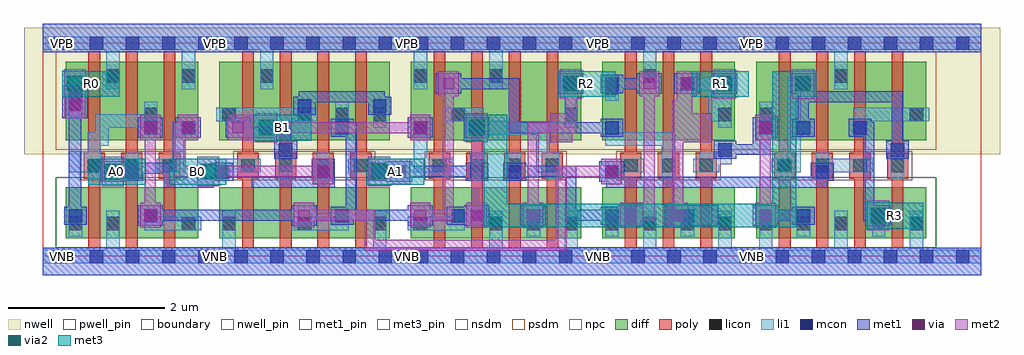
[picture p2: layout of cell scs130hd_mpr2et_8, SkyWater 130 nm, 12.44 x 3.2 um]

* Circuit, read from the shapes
.subckt scs130hd_mpr2et_8 A0 A1 B0 B1 R0 R1 R2 R3 VNB VPB vgnd vpwr
XM1 vgnd n1 R0 VNB sky130_fd_pr__nfet_01v8 w=0.65 l=0.15
XM2 n2 A0 vgnd VNB sky130_fd_pr__nfet_01v8 w=0.65 l=0.15
XM3 n1 B0 n2 VNB sky130_fd_pr__nfet_01v8 w=0.65 l=0.15
XM4 n3 A0 vgnd VNB sky130_fd_pr__nfet_01v8 w=0.65 l=0.15
XM5 n4 B1 n3 VNB sky130_fd_pr__nfet_01v8 w=0.65 l=0.15
XM6 n5 B0 n4 VNB sky130_fd_pr__nfet_01v8 w=0.65 l=0.15
XM7 vgnd A1 n5 VNB sky130_fd_pr__nfet_01v8 w=0.65 l=0.15
XM8 n6 B1 n7 VNB sky130_fd_pr__nfet_01v8 w=0.65 l=0.15
XM9 vgnd A1 n6 VNB sky130_fd_pr__nfet_01v8 w=0.65 l=0.15
XM10 R2 n8 vgnd VNB sky130_fd_pr__nfet_01v8 w=0.65 l=0.15
XM11 vgnd n7 R2 VNB sky130_fd_pr__nfet_01v8 w=0.65 l=0.15
XM12 vgnd n1 n8 VNB sky130_fd_pr__nfet_01v8 w=0.65 l=0.15
XM13 R1 n4 vgnd VNB sky130_fd_pr__nfet_01v8 w=0.65 l=0.15
XM14 vgnd n9 R1 VNB sky130_fd_pr__nfet_01v8 w=0.65 l=0.15
XM15 n9 n7 vgnd VNB sky130_fd_pr__nfet_01v8 w=0.65 l=0.15
XM16 vgnd n1 n9 VNB sky130_fd_pr__nfet_01v8 w=0.65 l=0.15
XM17 R3 n1 vgnd VNB sky130_fd_pr__nfet_01v8 w=0.65 l=0.15
XM18 vgnd n7 R3 VNB sky130_fd_pr__nfet_01v8 w=0.65 l=0.15
XM19 vpwr n1 R0 VPB sky130_fd_pr__pfet_01v8 w=1 l=0.15
XM20 n1 A0 vpwr VPB sky130_fd_pr__pfet_01v8 w=1 l=0.15
XM21 vpwr B0 n1 VPB sky130_fd_pr__pfet_01v8 w=1 l=0.15
XM22 vpwr A0 n10 VPB sky130_fd_pr__pfet_01v8 w=1 l=0.15
XM23 n10 B1 vpwr VPB sky130_fd_pr__pfet_01v8 w=1 l=0.15
XM24 n4 B0 n10 VPB sky130_fd_pr__pfet_01v8 w=1 l=0.15
XM25 n10 A1 n4 VPB sky130_fd_pr__pfet_01v8 w=1 l=0.15
XM26 n7 B1 vpwr VPB sky130_fd_pr__pfet_01v8 w=1 l=0.15
XM27 vpwr A1 n7 VPB sky130_fd_pr__pfet_01v8 w=1 l=0.15
XM28 n11 n8 vpwr VPB sky130_fd_pr__pfet_01v8 w=1 l=0.15
XM29 R2 n7 n11 VPB sky130_fd_pr__pfet_01v8 w=1 l=0.15
XM30 vpwr n1 n8 VPB sky130_fd_pr__pfet_01v8 w=1 l=0.15
XM31 n12 n4 vpwr VPB sky130_fd_pr__pfet_01v8 w=1 l=0.15
XM32 R1 n9 n12 VPB sky130_fd_pr__pfet_01v8 w=1 l=0.15
XM33 n13 n7 n9 VPB sky130_fd_pr__pfet_01v8 w=1 l=0.15
XM34 vpwr n1 n13 VPB sky130_fd_pr__pfet_01v8 w=1 l=0.15
XM35 n14 n1 vpwr VPB sky130_fd_pr__pfet_01v8 w=1 l=0.15
XM36 R3 n7 n14 VPB sky130_fd_pr__pfet_01v8 w=1 l=0.15
.ends

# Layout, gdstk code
import gdstk
lib = gdstk.Library(unit=1e-6, precision=1e-09)
def R(c, l, rs):  # rectangles x0, y0, x1, y1
    for r in rs: c.add(gdstk.rectangle(r[:2], r[2:], *l))
nwell_pin = (64, 16)
nwell = (64, 20)
diff = (65, 20)
poly = (66, 20)
licon = (66, 44)
li1 = (67, 20)
mcon = (67, 44)
met1_pin = (68, 16)
met1 = (68, 20)
via = (68, 44)
met2 = (69, 20)
via2 = (69, 44)
met3_pin = (70, 16)
met3 = (70, 20)
nsdm = (93, 44)
psdm = (94, 20)
npc = (95, 20)
pwell_pin = (122, 16)
boundary = (235, 4)

scs130hd_mpr2et_8 = lib.new_cell('scs130hd_mpr2et_8')
R(scs130hd_mpr2et_8, nwell_pin, [(0.16,2.63,0.33,2.8), (0.16,2.63,0.33,2.8), (2.12,2.63,2.29,2.8), (2.12,2.63,2.29,2.8), (4.56,2.63,4.73,2.8), (4.56,2.63,4.73,2.8), (7,2.63,7.17,2.8), (7,2.63,7.17,2.8), (8.96,2.63,9.13,2.8), (8.96,2.63,9.13,2.8)])
R(scs130hd_mpr2et_8, nwell, [(-0.24,1.3,12.2,2.91), (-0.24,1.3,12.2,2.91)])
R(scs130hd_mpr2et_8, diff, [(0.29,0.23,1.98,0.88), (0.29,0.23,1.98,0.88), (2.25,0.23,4.42,0.88), (2.25,0.23,4.42,0.88), (4.69,0.23,6.86,0.88), (4.69,0.23,6.86,0.88), (7.13,0.23,8.82,0.88), (7.13,0.23,8.82,0.88), (9.09,0.23,11.26,0.88), (9.09,0.23,11.26,0.88), (0.29,1.48,1.98,2.48), (0.29,1.48,1.98,2.48), (2.25,1.48,4.42,2.48), (2.25,1.48,4.42,2.48), (4.69,1.48,6.86,2.48), (4.69,1.48,6.86,2.48), (7.13,1.48,8.82,2.48), (7.13,1.48,8.82,2.48), (9.09,1.48,11.26,2.48), (9.09,1.48,11.26,2.48)])
R(scs130hd_mpr2et_8, poly, [(0.58,0.1,0.73,0.99), (0.58,0.1,0.73,0.99), (1.06,0.1,1.21,0.99), (1.06,0.1,1.21,0.99), (1.54,0.1,1.69,0.99), (1.54,0.1,1.69,0.99), (2.54,0.1,2.69,0.99), (2.54,0.1,2.69,0.99), (3.02,0.1,3.17,0.99), (3.02,0.1,3.17,0.99), (3.5,0.1,3.65,0.99), (3.5,0.1,3.65,0.99), (3.98,0.1,4.13,0.99), (3.98,0.1,4.13,0.99), (4.98,0.1,5.13,0.99), (4.98,0.1,5.13,0.99), (5.46,0.1,5.61,0.99), (5.46,0.1,5.61,0.99), (5.94,0.1,6.09,0.99), (5.94,0.1,6.09,0.99), (6.42,0.1,6.57,0.99), (6.42,0.1,6.57,0.99), (7.42,0.1,7.57,0.99), (7.42,0.1,7.57,0.99), (7.9,0.1,8.05,0.99), (7.9,0.1,8.05,0.99), (8.38,0.1,8.53,0.99), (8.38,0.1,8.53,0.99), (9.38,0.1,9.53,0.99), (9.38,0.1,9.53,0.99), (9.86,0.1,10.01,0.99), (9.86,0.1,10.01,0.99), (10.34,0.1,10.49,0.99), (10.34,0.1,10.49,0.99), (10.82,0.1,10.97,0.99), (10.82,0.1,10.97,0.99), (0.52,0.99,0.79,1.32), (0.52,0.99,0.79,1.32), (1,0.99,1.27,1.32), (1,0.99,1.27,1.32), (1.48,0.99,1.75,1.32), (1.48,0.99,1.75,1.32), (2.48,0.99,2.75,1.32), (2.48,0.99,2.75,1.32), (2.96,0.99,3.23,1.32), (2.96,0.99,3.23,1.32), (3.44,0.99,3.71,1.32), (3.44,0.99,3.71,1.32), (3.92,0.99,4.19,1.32), (3.92,0.99,4.19,1.32), (4.92,0.99,5.19,1.32), (4.92,0.99,5.19,1.32), (5.4,0.99,5.67,1.32), (5.4,0.99,5.67,1.32), (5.88,0.99,6.15,1.32), (5.88,0.99,6.15,1.32), (6.36,0.99,6.63,1.32), (6.36,0.99,6.63,1.32), (7.36,0.99,7.63,1.32), (7.36,0.99,7.63,1.32), (7.84,0.99,8.11,1.32), (7.84,0.99,8.11,1.32), (8.32,0.99,8.59,1.32), (8.32,0.99,8.59,1.32), (9.32,0.99,9.59,1.32), (9.32,0.99,9.59,1.32), (9.8,0.99,10.07,1.32), (9.8,0.99,10.07,1.32), (10.28,0.99,10.55,1.32), (10.28,0.99,10.55,1.32), (10.76,0.99,11.03,1.32), (10.76,0.99,11.03,1.32), (0.58,1.32,0.73,2.61), (0.58,1.32,0.73,2.61), (1.06,1.32,1.21,2.61), (1.06,1.32,1.21,2.61), (1.54,1.32,1.69,2.61), (1.54,1.32,1.69,2.61), (2.54,1.32,2.69,2.61), (2.54,1.32,2.69,2.61), (3.02,1.32,3.17,2.61), (3.02,1.32,3.17,2.61), (3.5,1.32,3.65,2.61), (3.5,1.32,3.65,2.61), (3.98,1.32,4.13,2.61), (3.98,1.32,4.13,2.61), (4.98,1.32,5.13,2.61), (4.98,1.32,5.13,2.61), (5.46,1.32,5.61,2.61), (5.46,1.32,5.61,2.61), (5.94,1.32,6.09,2.61), (5.94,1.32,6.09,2.61), (6.42,1.32,6.57,2.61), (6.42,1.32,6.57,2.61), (7.42,1.32,7.57,2.61), (7.42,1.32,7.57,2.61), (7.9,1.32,8.05,2.61), (7.9,1.32,8.05,2.61), (8.38,1.32,8.53,2.61), (8.38,1.32,8.53,2.61), (9.38,1.32,9.53,2.61), (9.38,1.32,9.53,2.61), (9.86,1.32,10.01,2.61), (9.86,1.32,10.01,2.61), (10.34,1.32,10.49,2.61), (10.34,1.32,10.49,2.61), (10.82,1.32,10.97,2.61), (10.82,1.32,10.97,2.61)])
R(scs130hd_mpr2et_8, licon, [(0.33,0.33,0.5,0.5), (0.33,0.33,0.5,0.5), (0.81,0.33,0.98,0.5), (0.81,0.33,0.98,0.5), (1.77,0.33,1.94,0.5), (1.77,0.33,1.94,0.5), (2.29,0.33,2.46,0.5), (2.29,0.33,2.46,0.5), (3.25,0.33,3.42,0.5), (3.25,0.33,3.42,0.5), (4.21,0.33,4.38,0.5), (4.21,0.33,4.38,0.5), (4.73,0.33,4.9,0.5), (4.73,0.33,4.9,0.5), (5.69,0.33,5.86,0.5), (5.69,0.33,5.86,0.5), (6.17,0.33,6.34,0.5), (6.17,0.33,6.34,0.5), (6.65,0.33,6.82,0.5), (6.65,0.33,6.82,0.5), (7.17,0.33,7.34,0.5), (7.17,0.33,7.34,0.5), (7.65,0.33,7.82,0.5), (7.65,0.33,7.82,0.5), (8.13,0.33,8.3,0.5), (8.13,0.33,8.3,0.5), (8.61,0.33,8.78,0.5), (8.61,0.33,8.78,0.5), (9.13,0.33,9.3,0.5), (9.13,0.33,9.3,0.5), (9.61,0.33,9.78,0.5), (9.61,0.33,9.78,0.5), (10.09,0.33,10.26,0.5), (10.09,0.33,10.26,0.5), (10.57,0.33,10.74,0.5), (10.57,0.33,10.74,0.5), (11.05,0.33,11.22,0.5), (11.05,0.33,11.22,0.5), (0.57,1.07,0.74,1.24), (0.57,1.07,0.74,1.24), (1.05,1.07,1.22,1.24), (1.05,1.07,1.22,1.24), (1.53,1.07,1.7,1.24), (1.53,1.07,1.7,1.24), (2.53,1.07,2.7,1.24), (2.53,1.07,2.7,1.24), (3.01,1.07,3.18,1.24), (3.01,1.07,3.18,1.24), (3.49,1.07,3.66,1.24), (3.49,1.07,3.66,1.24), (3.97,1.07,4.14,1.24), (3.97,1.07,4.14,1.24), (4.97,1.07,5.14,1.24), (4.97,1.07,5.14,1.24), (5.45,1.07,5.62,1.24), (5.45,1.07,5.62,1.24), (5.93,1.07,6.1,1.24), (5.93,1.07,6.1,1.24), (6.41,1.07,6.58,1.24), (6.41,1.07,6.58,1.24), (7.41,1.07,7.58,1.24), (7.41,1.07,7.58,1.24), (7.89,1.07,8.06,1.24), (7.89,1.07,8.06,1.24), (8.37,1.07,8.54,1.24), (8.37,1.07,8.54,1.24), (9.37,1.07,9.54,1.24), (9.37,1.07,9.54,1.24), (9.85,1.07,10.02,1.24), (9.85,1.07,10.02,1.24), (10.33,1.07,10.5,1.24), (10.33,1.07,10.5,1.24), (10.81,1.07,10.98,1.24), (10.81,1.07,10.98,1.24), (1.29,1.72,1.46,1.89), (1.29,1.72,1.46,1.89), (2.29,1.72,2.46,1.89), (2.29,1.72,2.46,1.89), (3.25,1.72,3.42,1.89), (3.25,1.72,3.42,1.89), (3.73,1.72,3.9,1.89), (3.73,1.72,3.9,1.89), (4.21,1.72,4.38,1.89), (4.21,1.72,4.38,1.89), (5.21,1.72,5.38,1.89), (5.21,1.72,5.38,1.89), (6.65,1.72,6.82,1.89), (6.65,1.72,6.82,1.89), (8.61,1.72,8.78,1.89), (8.61,1.72,8.78,1.89), (9.13,1.72,9.3,1.89), (9.13,1.72,9.3,1.89), (11.05,1.72,11.22,1.89), (11.05,1.72,11.22,1.89), (0.33,1.86,0.5,2.03), (0.33,1.86,0.5,2.03), (7.17,2.06,7.34,2.23), (7.17,2.06,7.34,2.23), (0.81,2.21,0.98,2.38), (0.81,2.21,0.98,2.38), (1.77,2.21,1.94,2.38), (1.77,2.21,1.94,2.38), (2.77,2.21,2.94,2.38), (2.77,2.21,2.94,2.38), (4.73,2.21,4.9,2.38), (4.73,2.21,4.9,2.38), (5.69,2.21,5.86,2.38), (5.69,2.21,5.86,2.38), (7.65,2.21,7.82,2.38), (7.65,2.21,7.82,2.38), (10.09,2.21,10.26,2.38), (10.09,2.21,10.26,2.38)])
R(scs130hd_mpr2et_8, li1, [(0,-0.09,11.96,0.08), (0,-0.09,11.96,0.08), (0.81,0.08,0.98,0.58), (0.81,0.08,0.98,0.58), (2.29,0.08,2.46,0.58), (2.29,0.08,2.46,0.58), (4.21,0.08,4.38,0.58), (4.21,0.08,4.38,0.58), (5.69,0.08,5.86,0.58), (5.69,0.08,5.86,0.58), (6.65,0.08,6.82,0.58), (6.65,0.08,6.82,0.58), (7.65,0.08,7.82,0.58), (7.65,0.08,7.82,0.58), (8.61,0.08,8.78,0.58), (8.61,0.08,8.78,0.58), (9.13,0.08,9.3,0.58), (9.13,0.08,9.3,0.58), (10.09,0.08,10.26,0.58), (10.09,0.08,10.26,0.58), (11.05,0.08,11.22,0.58), (11.05,0.08,11.22,0.58), (0.33,0.25,0.5,0.6), (0.33,0.25,0.5,0.6), (6.17,0.25,6.34,0.6), (6.17,0.25,6.34,0.6), (7.17,0.25,7.34,0.6), (7.17,0.25,7.34,0.6), (8.13,0.25,8.3,0.6), (8.13,0.25,8.3,0.6), (9.61,0.25,9.78,0.6), (9.61,0.25,9.78,0.6), (10.57,0.25,10.74,0.6), (10.57,0.25,10.74,0.6), (1.29,0.33,2.02,0.5), (1.29,0.33,2.02,0.5), (3.17,0.33,3.9,0.5), (3.17,0.33,3.9,0.5), (4.65,0.33,5.38,0.5), (4.65,0.33,5.38,0.5), (1.29,0.5,1.46,0.6), (1.29,0.5,1.46,0.6), (3.73,0.5,3.9,0.6), (3.73,0.5,3.9,0.6), (5.21,0.5,5.38,0.6), (5.21,0.5,5.38,0.6), (0.57,0.99,0.74,1.07), (0.57,0.99,0.74,1.07), (1.05,0.99,1.22,1.32), (1.05,0.99,1.22,1.32), (2.2,0.99,2.37,1.07), (2.2,0.99,2.37,1.07), (3.01,0.99,3.18,1.44), (3.01,0.99,3.18,1.44), (3.49,0.99,3.66,1.32), (3.49,0.99,3.66,1.32), (4.21,0.99,4.38,1.07), (4.21,0.99,4.38,1.07), (5.45,0.99,5.62,1.32), (5.45,0.99,5.62,1.32), (5.93,0.99,6.1,1.32), (5.93,0.99,6.1,1.32), (6.41,0.99,6.58,1.07), (6.41,0.99,6.58,1.07), (7.17,0.99,7.34,1.07), (7.17,0.99,7.34,1.07), (7.89,0.99,8.06,1.41), (7.89,0.99,8.06,1.41), (9.85,0.99,10.02,1.07), (9.85,0.99,10.02,1.07), (10.81,0.99,10.98,1.44), (10.81,0.99,10.98,1.44), (0.33,1.07,0.74,1.34), (0.33,1.07,0.74,1.34), (1.45,1.07,1.82,1.24), (1.45,1.07,1.82,1.24), (2.2,1.07,2.78,1.24), (2.2,1.07,2.78,1.24), (3.89,1.07,4.38,1.24), (3.89,1.07,4.38,1.24), (4.73,1.07,5.22,1.24), (4.73,1.07,5.22,1.24), (6.29,1.07,6.58,1.32), (6.29,1.07,6.58,1.32), (7.17,1.07,7.66,1.24), (7.17,1.07,7.66,1.24), (8.29,1.07,8.62,1.17), (8.29,1.07,8.62,1.17), (9.29,1.07,9.66,1.24), (9.29,1.07,9.66,1.24), (9.85,1.07,10.58,1.24), (9.85,1.07,10.58,1.24), (8.29,1.17,8.78,1.24), (8.29,1.17,8.78,1.24), (1.65,1.24,1.82,1.55), (1.65,1.24,1.82,1.55), (4.73,1.24,4.9,1.72), (4.73,1.24,4.9,1.72), (8.37,1.24,8.78,1.34), (8.37,1.24,8.78,1.34), (9.49,1.24,9.66,1.55), (9.49,1.24,9.66,1.55), (9.85,1.24,10.02,1.32), (9.85,1.24,10.02,1.32), (6.29,1.32,6.46,1.55), (6.29,1.32,6.46,1.55), (0.57,1.34,0.74,1.41), (0.57,1.34,0.74,1.41), (8.61,1.34,8.78,1.44), (8.61,1.34,8.78,1.44), (0.57,1.41,0.84,1.58), (0.57,1.41,0.84,1.58), (7.17,1.41,8.06,1.58), (7.17,1.41,8.06,1.58), (1.29,1.55,1.46,1.64), (1.29,1.55,1.46,1.64), (1.65,1.55,1.94,1.72), (1.65,1.55,1.94,1.72), (3.73,1.55,3.9,1.97), (3.73,1.55,3.9,1.97), (5.45,1.55,6.46,1.72), (5.45,1.55,6.46,1.72), (9.13,1.55,9.3,1.97), (9.13,1.55,9.3,1.97), (9.49,1.55,9.78,1.72), (9.49,1.55,9.78,1.72), (10.33,1.55,10.5,1.72), (10.33,1.55,10.5,1.72), (0.67,1.58,0.84,1.64), (0.67,1.58,0.84,1.64), (7.17,1.58,7.34,1.72), (7.17,1.58,7.34,1.72), (0.67,1.64,1.46,1.81), (0.67,1.64,1.46,1.81), (4.21,1.64,4.38,2), (4.21,1.64,4.38,2), (6.65,1.64,6.82,2.28), (6.65,1.64,6.82,2.28), (8.61,1.64,8.78,1.72), (8.61,1.64,8.78,1.72), (2.21,1.72,3.5,1.89), (2.21,1.72,3.5,1.89), (5.13,1.72,5.62,1.89), (5.13,1.72,5.62,1.89), (8.49,1.72,8.78,2.11), (8.49,1.72,8.78,2.11), (9.49,1.72,9.66,2.11), (9.49,1.72,9.66,2.11), (10.33,1.72,11.3,1.89), (10.33,1.72,11.3,1.89), (0.33,1.78,0.5,2.14), (0.33,1.78,0.5,2.14), (1.29,1.81,1.46,1.97), (1.29,1.81,1.46,1.97), (3.25,1.89,3.42,2), (3.25,1.89,3.42,2), (7.17,1.98,7.34,2.31), (7.17,1.98,7.34,2.31), (8.13,2.11,8.78,2.28), (8.13,2.11,8.78,2.28), (9.49,2.11,9.78,2.28), (9.49,2.11,9.78,2.28), (0.81,2.13,0.98,2.63), (0.81,2.13,0.98,2.63), (1.77,2.13,1.94,2.63), (1.77,2.13,1.94,2.63), (2.77,2.13,2.94,2.63), (2.77,2.13,2.94,2.63), (4.73,2.13,4.9,2.63), (4.73,2.13,4.9,2.63), (5.69,2.13,5.86,2.63), (5.69,2.13,5.86,2.63), (7.65,2.13,7.82,2.63), (7.65,2.13,7.82,2.63), (10.09,2.13,10.26,2.63), (10.09,2.13,10.26,2.63), (0,2.63,11.96,2.8), (0,2.63,11.96,2.8)])
R(scs130hd_mpr2et_8, mcon, [(0.14,-0.09,0.31,0.08), (0.14,-0.09,0.31,0.08), (0.6,-0.09,0.77,0.08), (0.6,-0.09,0.77,0.08), (1.06,-0.09,1.23,0.08), (1.06,-0.09,1.23,0.08), (1.52,-0.09,1.69,0.08), (1.52,-0.09,1.69,0.08), (1.98,-0.09,2.15,0.08), (1.98,-0.09,2.15,0.08), (2.44,-0.09,2.61,0.08), (2.44,-0.09,2.61,0.08), (2.9,-0.09,3.07,0.08), (2.9,-0.09,3.07,0.08), (3.36,-0.09,3.53,0.08), (3.36,-0.09,3.53,0.08), (3.82,-0.09,3.99,0.08), (3.82,-0.09,3.99,0.08), (4.28,-0.09,4.45,0.08), (4.28,-0.09,4.45,0.08), (4.74,-0.09,4.91,0.08), (4.74,-0.09,4.91,0.08), (5.2,-0.09,5.37,0.08), (5.2,-0.09,5.37,0.08), (5.66,-0.09,5.83,0.08), (5.66,-0.09,5.83,0.08), (6.12,-0.09,6.29,0.08), (6.12,-0.09,6.29,0.08), (6.58,-0.09,6.75,0.08), (6.58,-0.09,6.75,0.08), (7.04,-0.09,7.21,0.08), (7.04,-0.09,7.21,0.08), (7.5,-0.09,7.67,0.08), (7.5,-0.09,7.67,0.08), (7.96,-0.09,8.13,0.08), (7.96,-0.09,8.13,0.08), (8.42,-0.09,8.59,0.08), (8.42,-0.09,8.59,0.08), (8.88,-0.09,9.05,0.08), (8.88,-0.09,9.05,0.08), (9.34,-0.09,9.51,0.08), (9.34,-0.09,9.51,0.08), (9.8,-0.09,9.97,0.08), (9.8,-0.09,9.97,0.08), (10.26,-0.09,10.43,0.08), (10.26,-0.09,10.43,0.08), (10.72,-0.09,10.89,0.08), (10.72,-0.09,10.89,0.08), (11.18,-0.09,11.35,0.08), (11.18,-0.09,11.35,0.08), (11.64,-0.09,11.81,0.08), (11.64,-0.09,11.81,0.08), (0.33,0.43,0.5,0.6), (0.33,0.43,0.5,0.6), (1.29,0.43,1.46,0.6), (1.29,0.43,1.46,0.6), (3.73,0.43,3.9,0.6), (3.73,0.43,3.9,0.6), (5.21,0.43,5.38,0.6), (5.21,0.43,5.38,0.6), (6.17,0.43,6.34,0.6), (6.17,0.43,6.34,0.6), (7.17,0.43,7.34,0.6), (7.17,0.43,7.34,0.6), (8.13,0.43,8.3,0.6), (8.13,0.43,8.3,0.6), (9.61,0.43,9.78,0.6), (9.61,0.43,9.78,0.6), (10.57,0.43,10.74,0.6), (10.57,0.43,10.74,0.6), (1.05,0.99,1.22,1.16), (1.05,0.99,1.22,1.16), (2.2,0.99,2.37,1.16), (2.2,0.99,2.37,1.16), (3.49,0.99,3.66,1.16), (3.49,0.99,3.66,1.16), (4.21,0.99,4.38,1.16), (4.21,0.99,4.38,1.16), (5.45,0.99,5.62,1.16), (5.45,0.99,5.62,1.16), (5.93,0.99,6.1,1.16), (5.93,0.99,6.1,1.16), (7.17,0.99,7.34,1.16), (7.17,0.99,7.34,1.16), (9.85,0.99,10.02,1.16), (9.85,0.99,10.02,1.16), (3.01,1.27,3.18,1.44), (3.01,1.27,3.18,1.44), (8.61,1.27,8.78,1.44), (8.61,1.27,8.78,1.44), (10.81,1.27,10.98,1.44), (10.81,1.27,10.98,1.44), (1.29,1.55,1.46,1.72), (1.29,1.55,1.46,1.72), (1.77,1.55,1.94,1.72), (1.77,1.55,1.94,1.72), (3.73,1.55,3.9,1.72), (3.73,1.55,3.9,1.72), (4.73,1.55,4.9,1.72), (4.73,1.55,4.9,1.72), (5.45,1.55,5.62,1.72), (5.45,1.55,5.62,1.72), (7.17,1.55,7.34,1.72), (7.17,1.55,7.34,1.72), (9.13,1.55,9.3,1.72), (9.13,1.55,9.3,1.72), (9.61,1.55,9.78,1.72), (9.61,1.55,9.78,1.72), (10.33,1.55,10.5,1.72), (10.33,1.55,10.5,1.72), (3.25,1.83,3.42,2), (3.25,1.83,3.42,2), (4.21,1.83,4.38,2), (4.21,1.83,4.38,2), (0.33,1.97,0.5,2.14), (0.33,1.97,0.5,2.14), (6.65,2.11,6.82,2.28), (6.65,2.11,6.82,2.28), (7.17,2.11,7.34,2.28), (7.17,2.11,7.34,2.28), (8.13,2.11,8.3,2.28), (8.13,2.11,8.3,2.28), (8.61,2.11,8.78,2.28), (8.61,2.11,8.78,2.28), (9.61,2.11,9.78,2.28), (9.61,2.11,9.78,2.28), (0.14,2.63,0.31,2.8), (0.14,2.63,0.31,2.8), (0.6,2.63,0.77,2.8), (0.6,2.63,0.77,2.8), (1.06,2.63,1.23,2.8), (1.06,2.63,1.23,2.8), (1.52,2.63,1.69,2.8), (1.52,2.63,1.69,2.8), (1.98,2.63,2.15,2.8), (1.98,2.63,2.15,2.8), (2.44,2.63,2.61,2.8), (2.44,2.63,2.61,2.8), (2.9,2.63,3.07,2.8), (2.9,2.63,3.07,2.8), (3.36,2.63,3.53,2.8), (3.36,2.63,3.53,2.8), (3.82,2.63,3.99,2.8), (3.82,2.63,3.99,2.8), (4.28,2.63,4.45,2.8), (4.28,2.63,4.45,2.8), (4.74,2.63,4.91,2.8), (4.74,2.63,4.91,2.8), (5.2,2.63,5.37,2.8), (5.2,2.63,5.37,2.8), (5.66,2.63,5.83,2.8), (5.66,2.63,5.83,2.8), (6.12,2.63,6.29,2.8), (6.12,2.63,6.29,2.8), (6.58,2.63,6.75,2.8), (6.58,2.63,6.75,2.8), (7.04,2.63,7.21,2.8), (7.04,2.63,7.21,2.8), (7.5,2.63,7.67,2.8), (7.5,2.63,7.67,2.8), (7.96,2.63,8.13,2.8), (7.96,2.63,8.13,2.8), (8.42,2.63,8.59,2.8), (8.42,2.63,8.59,2.8), (8.88,2.63,9.05,2.8), (8.88,2.63,9.05,2.8), (9.34,2.63,9.51,2.8), (9.34,2.63,9.51,2.8), (9.8,2.63,9.97,2.8), (9.8,2.63,9.97,2.8), (10.26,2.63,10.43,2.8), (10.26,2.63,10.43,2.8), (10.72,2.63,10.89,2.8), (10.72,2.63,10.89,2.8), (11.18,2.63,11.35,2.8), (11.18,2.63,11.35,2.8), (11.64,2.63,11.81,2.8), (11.64,2.63,11.81,2.8)])
R(scs130hd_mpr2et_8, met1_pin, [(0.15,-0.08,0.32,0.08), (0.15,-0.08,0.32,0.08), (0.15,2.63,0.32,2.8), (0.15,2.63,0.32,2.8)])
R(scs130hd_mpr2et_8, met1, [(0,-0.24,11.96,0.11), (0,-0.24,11.96,0.11), (1.21,0.39,1.53,0.45), (1.21,0.39,1.53,0.45), (3.17,0.39,3.49,0.45), (3.17,0.39,3.49,0.45), (4.65,0.39,4.97,0.45), (4.65,0.39,4.97,0.45), (5.37,0.39,5.69,0.4), (5.37,0.39,5.69,0.4), (6.09,0.39,6.41,0.65), (6.09,0.39,6.41,0.65), (7.33,0.39,7.65,0.4), (7.33,0.39,7.65,0.4), (7.93,0.39,8.61,0.65), (7.93,0.39,8.61,0.65), (9.05,0.39,9.37,0.45), (9.05,0.39,9.37,0.45), (10.49,0.39,10.81,0.45), (10.49,0.39,10.81,0.45), (0.27,0.4,0.56,0.63), (0.27,0.4,0.56,0.63), (3.67,0.4,3.96,0.45), (3.67,0.4,3.96,0.45), (5.15,0.4,5.69,0.63), (5.15,0.4,5.69,0.63), (7.11,0.4,7.65,0.45), (7.11,0.4,7.65,0.45), (9.55,0.4,9.84,0.45), (9.55,0.4,9.84,0.45), (1.21,0.45,3.49,0.59), (1.21,0.45,3.49,0.59), (3.67,0.45,4.97,0.59), (3.67,0.45,4.97,0.59), (6.66,0.45,7.65,0.59), (6.66,0.45,7.65,0.59), (9.05,0.45,9.84,0.59), (9.05,0.45,9.84,0.59), (10.46,0.45,10.81,0.65), (10.46,0.45,10.81,0.65), (1.21,0.59,1.53,0.65), (1.21,0.59,1.53,0.65), (3.17,0.59,3.49,0.65), (3.17,0.59,3.49,0.65), (3.67,0.59,4,0.63), (3.67,0.59,4,0.63), (4.65,0.59,4.97,0.65), (4.65,0.59,4.97,0.65), (6.66,0.59,6.8,1.01), (6.66,0.59,6.8,1.01), (7.11,0.59,7.65,0.63), (7.11,0.59,7.65,0.63), (9.05,0.59,9.37,0.65), (9.05,0.59,9.37,0.65), (9.55,0.59,9.84,0.63), (9.55,0.59,9.84,0.63), (0.33,0.63,0.49,1.76), (0.33,0.63,0.49,1.76), (3.86,0.63,4,1.52), (3.86,0.63,4,1.52), (5.37,0.63,5.69,0.65), (5.37,0.63,5.69,0.65), (7.33,0.63,7.65,0.65), (7.33,0.63,7.65,0.65), (10.46,0.65,10.6,1.52), (10.46,0.65,10.6,1.52), (1.54,0.87,2.18,0.96), (1.54,0.87,2.18,0.96), (2.66,0.87,3.72,1.01), (2.66,0.87,3.72,1.01), (7.18,0.87,10,0.95), (7.18,0.87,10,0.95), (0.73,0.95,1.05,0.96), (0.73,0.95,1.05,0.96), (4.39,0.95,4.71,0.96), (4.39,0.95,4.71,0.96), (7.09,0.95,10,0.96), (7.09,0.95,10,0.96), (0.73,0.96,1.28,1.05), (0.73,0.96,1.28,1.05), (1.54,0.96,2.43,1.01), (1.54,0.96,2.43,1.01), (4.15,0.96,4.71,1.01), (4.15,0.96,4.71,1.01), (5.39,0.96,5.68,1.01), (5.39,0.96,5.68,1.01), (5.87,0.96,6.16,1.01), (5.87,0.96,6.16,1.01), (7.09,0.96,10.08,1.01), (7.09,0.96,10.08,1.01), (1.54,1.01,1.68,1.05), (1.54,1.01,1.68,1.05), (2.04,1.01,2.43,1.15), (2.04,1.01,2.43,1.15), (3.43,1.01,3.72,1.24), (3.43,1.01,3.72,1.24), (4.15,1.01,5.68,1.15), (4.15,1.01,5.68,1.15), (5.87,1.01,6.8,1.15), (5.87,1.01,6.8,1.15), (7.09,1.01,7.41,1.21), (7.09,1.01,7.41,1.21), (9.79,1.01,10.08,1.19), (9.79,1.01,10.08,1.19), (0.73,1.05,1.68,1.19), (0.73,1.05,1.68,1.19), (2.14,1.15,2.43,1.19), (2.14,1.15,2.43,1.19), (4.15,1.15,4.71,1.19), (4.15,1.15,4.71,1.19), (5.39,1.15,5.68,1.19), (5.39,1.15,5.68,1.19), (5.87,1.15,6.16,1.19), (5.87,1.15,6.16,1.19), (0.73,1.19,1.05,1.21), (0.73,1.19,1.05,1.21), (4.39,1.19,4.71,1.21), (4.39,1.19,4.71,1.21), (2.95,1.24,3.24,1.47), (2.95,1.24,3.24,1.47), (8.55,1.24,8.84,1.29), (8.55,1.24,8.84,1.29), (10.75,1.24,11.04,1.47), (10.75,1.24,11.04,1.47), (8.55,1.29,9.28,1.43), (8.55,1.29,9.28,1.43), (8.55,1.43,8.84,1.47), (8.55,1.43,8.84,1.47), (9.05,1.43,9.28,1.51), (9.05,1.43,9.28,1.51), (2.95,1.47,3.16,1.51), (2.95,1.47,3.16,1.51), (10.82,1.47,10.96,1.96), (10.82,1.47,10.96,1.96), (1.21,1.51,1.53,1.77), (1.21,1.51,1.53,1.77), (1.69,1.51,2.01,1.77), (1.69,1.51,2.01,1.77), (2.33,1.51,3.16,1.65), (2.33,1.51,3.16,1.65), (4.65,1.51,4.97,1.77), (4.65,1.51,4.97,1.77), (5.37,1.51,5.69,1.77), (5.37,1.51,5.69,1.77), (9.05,1.51,9.37,1.77), (9.05,1.51,9.37,1.77), (3.67,1.52,4,1.71), (3.67,1.52,4,1.71), (7.11,1.52,7.4,1.57), (7.11,1.52,7.4,1.57), (9.55,1.52,9.84,1.75), (9.55,1.52,9.84,1.75), (10.27,1.52,10.6,1.71), (10.27,1.52,10.6,1.71), (5.94,1.57,7.4,1.71), (5.94,1.57,7.4,1.71), (2.33,1.65,2.65,1.77), (2.33,1.65,2.65,1.77), (3.67,1.71,3.96,1.75), (3.67,1.71,3.96,1.75), (5.94,1.71,6.08,2.13), (5.94,1.71,6.08,2.13), (7.11,1.71,7.4,1.75), (7.11,1.71,7.4,1.75), (10.27,1.71,10.56,1.75), (10.27,1.71,10.56,1.75), (9.62,1.75,9.76,1.96), (9.62,1.75,9.76,1.96), (0.25,1.76,0.57,2.17), (0.25,1.76,0.57,2.17), (3.19,1.8,3.48,1.96), (3.19,1.8,3.48,1.96), (4.15,1.8,4.44,1.96), (4.15,1.8,4.44,1.96), (3.19,1.96,4.44,2.03), (3.19,1.96,4.44,2.03), (9.62,1.96,10.96,2.07), (9.62,1.96,10.96,2.07), (3.26,2.03,4.36,2.1), (3.26,2.03,4.36,2.1), (5.01,2.07,5.33,2.13), (5.01,2.07,5.33,2.13), (6.57,2.07,6.89,2.33), (6.57,2.07,6.89,2.33), (7.57,2.07,7.89,2.13), (7.57,2.07,7.89,2.13), (8.05,2.07,8.37,2.33), (8.05,2.07,8.37,2.33), (8.53,2.07,8.85,2.33), (8.53,2.07,8.85,2.33), (9.53,2.07,10.96,2.1), (9.53,2.07,10.96,2.1), (7.11,2.08,7.4,2.13), (7.11,2.08,7.4,2.13), (9.53,2.1,9.85,2.33), (9.53,2.1,9.85,2.33), (5.01,2.13,6.08,2.27), (5.01,2.13,6.08,2.27), (7.11,2.13,7.89,2.27), (7.11,2.13,7.89,2.27), (5.01,2.27,5.33,2.33), (5.01,2.27,5.33,2.33), (7.11,2.27,7.4,2.31), (7.11,2.27,7.4,2.31), (7.57,2.27,7.89,2.33), (7.57,2.27,7.89,2.33), (0,2.6,11.96,2.96), (0,2.6,11.96,2.96)])
R(scs130hd_mpr2et_8, via, [(1.295,0.445,1.445,0.595), (1.295,0.445,1.445,0.595), (3.255,0.445,3.405,0.595), (3.255,0.445,3.405,0.595), (4.735,0.445,4.885,0.595), (4.735,0.445,4.885,0.595), (5.455,0.445,5.605,0.595), (5.455,0.445,5.605,0.595), (6.175,0.445,6.325,0.595), (6.175,0.445,6.325,0.595), (7.415,0.445,7.565,0.595), (7.415,0.445,7.565,0.595), (8.015,0.445,8.165,0.595), (8.015,0.445,8.165,0.595), (9.135,0.445,9.285,0.595), (9.135,0.445,9.285,0.595), (10.575,0.445,10.725,0.595), (10.575,0.445,10.725,0.595), (0.815,1.005,0.965,1.155), (0.815,1.005,0.965,1.155), (3.495,1.005,3.645,1.155), (3.495,1.005,3.645,1.155), (4.475,1.005,4.625,1.155), (4.475,1.005,4.625,1.155), (7.175,1.005,7.325,1.155), (7.175,1.005,7.325,1.155), (1.295,1.565,1.445,1.715), (1.295,1.565,1.445,1.715), (1.775,1.565,1.925,1.715), (1.775,1.565,1.925,1.715), (2.415,1.565,2.565,1.715), (2.415,1.565,2.565,1.715), (4.735,1.565,4.885,1.715), (4.735,1.565,4.885,1.715), (5.455,1.565,5.605,1.715), (5.455,1.565,5.605,1.715), (9.135,1.565,9.285,1.715), (9.135,1.565,9.285,1.715), (0.335,1.845,0.485,1.995), (0.335,1.845,0.485,1.995), (5.095,2.125,5.245,2.275), (5.095,2.125,5.245,2.275), (6.655,2.125,6.805,2.275), (6.655,2.125,6.805,2.275), (7.655,2.125,7.805,2.275), (7.655,2.125,7.805,2.275), (8.135,2.125,8.285,2.275), (8.135,2.125,8.285,2.275), (8.615,2.125,8.765,2.275), (8.615,2.125,8.765,2.275), (9.615,2.125,9.765,2.275), (9.615,2.125,9.765,2.275)])
R(scs130hd_mpr2et_8, met2, [(4.1,0.07,6.68,0.21), (4.1,0.07,6.68,0.21), (4.1,0.21,4.24,0.45), (4.1,0.21,4.24,0.45), (6.54,0.21,6.68,1.01), (6.54,0.21,6.68,1.01), (10.51,0.33,10.79,0.705), (10.51,0.33,10.79,0.705), (1.24,0.36,1.5,0.68), (1.24,0.36,1.5,0.68), (3.2,0.36,3.46,0.45), (3.2,0.36,3.46,0.45), (4.68,0.36,4.94,0.45), (4.68,0.36,4.94,0.45), (5.4,0.36,5.66,0.68), (5.4,0.36,5.66,0.68), (6.12,0.36,6.38,0.68), (6.12,0.36,6.38,0.68), (7.36,0.36,7.62,0.45), (7.36,0.36,7.62,0.45), (7.96,0.36,8.22,0.68), (7.96,0.36,8.22,0.68), (9.08,0.36,9.34,0.68), (9.08,0.36,9.34,0.68), (3.2,0.45,4.24,0.59), (3.2,0.45,4.24,0.59), (4.68,0.45,5.24,0.59), (4.68,0.45,5.24,0.59), (7.36,0.45,7.8,0.68), (7.36,0.45,7.8,0.68), (3.2,0.59,3.46,0.68), (3.2,0.59,3.46,0.68), (4.68,0.59,4.94,0.68), (4.68,0.59,4.94,0.68), (5.1,0.59,5.24,2.04), (5.1,0.59,5.24,2.04), (1.3,0.68,1.44,1.48), (1.3,0.68,1.44,1.48), (5.46,0.68,5.6,1.45), (5.46,0.68,5.6,1.45), (6.18,0.68,6.32,1.57), (6.18,0.68,6.32,1.57), (7.66,0.68,7.8,2.04), (7.66,0.68,7.8,2.04), (8.02,0.68,8.16,1.45), (8.02,0.68,8.16,1.45), (9.14,0.68,9.28,1.48), (9.14,0.68,9.28,1.48), (0.75,0.89,1.03,1.265), (0.75,0.89,1.03,1.265), (1.97,0.89,2.25,1.01), (1.97,0.89,2.25,1.01), (4.15,0.89,4.43,0.92), (4.15,0.89,4.43,0.92), (3.44,0.92,3.7,1.01), (3.44,0.92,3.7,1.01), (4.15,0.92,4.68,1.24), (4.15,0.92,4.68,1.24), (7.12,0.92,7.38,1.01), (7.12,0.92,7.38,1.01), (1.66,1.01,3.7,1.15), (1.66,1.01,3.7,1.15), (6.54,1.01,7.38,1.15), (6.54,1.01,7.38,1.15), (1.66,1.15,1.8,1.48), (1.66,1.15,1.8,1.48), (1.97,1.15,2.25,1.265), (1.97,1.15,2.25,1.265), (3.44,1.15,3.7,1.24), (3.44,1.15,3.7,1.24), (7.12,1.15,7.38,1.24), (7.12,1.15,7.38,1.24), (4.15,1.24,4.43,1.265), (4.15,1.24,4.43,1.265), (2.71,1.45,2.99,1.48), (2.71,1.45,2.99,1.48), (5.39,1.45,5.67,1.825), (5.39,1.45,5.67,1.825), (6.47,1.45,6.75,1.57), (6.47,1.45,6.75,1.57), (8.02,1.45,8.52,1.82), (8.02,1.45,8.52,1.82), (1.24,1.48,1.5,1.8), (1.24,1.48,1.5,1.8), (1.66,1.48,1.98,1.71), (1.66,1.48,1.98,1.71), (2.36,1.48,2.99,1.57), (2.36,1.48,2.99,1.57), (4.68,1.48,4.94,1.57), (4.68,1.48,4.94,1.57), (9.08,1.48,9.34,1.8), (9.08,1.48,9.34,1.8), (2.36,1.57,4.94,1.71), (2.36,1.57,4.94,1.71), (6.18,1.57,6.8,1.71), (6.18,1.57,6.8,1.71), (1.72,1.71,1.98,1.8), (1.72,1.71,1.98,1.8), (2.36,1.71,2.99,1.8), (2.36,1.71,2.99,1.8), (4.68,1.71,4.94,1.8), (4.68,1.71,4.94,1.8), (6.47,1.71,6.8,1.82), (6.47,1.71,6.8,1.82), (0.28,1.76,0.54,2.01), (0.28,1.76,0.54,2.01), (2.71,1.8,2.99,1.825), (2.71,1.8,2.99,1.825), (6.66,1.82,6.8,2.01), (6.66,1.82,6.8,2.01), (8.02,1.82,8.28,1.99), (8.02,1.82,8.28,1.99), (8.08,1.99,8.28,2.04), (8.08,1.99,8.28,2.04), (0.27,2.01,0.55,2.385), (0.27,2.01,0.55,2.385), (6.59,2.01,6.87,2.385), (6.59,2.01,6.87,2.385), (8.55,2.01,8.83,2.385), (8.55,2.01,8.83,2.385), (9.55,2.01,9.83,2.385), (9.55,2.01,9.83,2.385), (5.04,2.04,5.3,2.36), (5.04,2.04,5.3,2.36), (7.6,2.04,7.86,2.36), (7.6,2.04,7.86,2.36), (8.08,2.04,8.34,2.36), (8.08,2.04,8.34,2.36)])
R(scs130hd_mpr2et_8, via2, [(10.55,0.42,10.75,0.62), (10.55,0.42,10.75,0.62), (0.79,0.98,0.99,1.18), (0.79,0.98,0.99,1.18), (2.01,0.98,2.21,1.18), (2.01,0.98,2.21,1.18), (4.19,0.98,4.39,1.18), (4.19,0.98,4.39,1.18), (2.75,1.54,2.95,1.74), (2.75,1.54,2.95,1.74), (5.43,1.54,5.63,1.74), (5.43,1.54,5.63,1.74), (0.31,2.1,0.51,2.3), (0.31,2.1,0.51,2.3), (6.63,2.1,6.83,2.3), (6.63,2.1,6.83,2.3), (8.59,2.1,8.79,2.3), (8.59,2.1,8.79,2.3), (9.59,2.1,9.79,2.3), (9.59,2.1,9.79,2.3)])
R(scs130hd_mpr2et_8, met3_pin, [(10.49,0.35,11.22,0.68), (10.49,0.35,11.22,0.68), (0.58,0.91,1.31,1.24), (0.58,0.91,1.31,1.24), (1.61,0.91,2.34,1.24), (1.61,0.91,2.34,1.24), (4.13,0.91,4.86,1.24), (4.13,0.91,4.86,1.24), (2.69,1.47,3.42,1.8), (2.69,1.47,3.42,1.8), (0.25,2.03,0.98,2.36), (0.25,2.03,0.98,2.36), (6.57,2.03,7.3,2.36), (6.57,2.03,7.3,2.36), (8.27,2.03,9,2.36), (8.27,2.03,9,2.36)])
R(scs130hd_mpr2et_8, met3, [(10.485,0.345,10.81,0.35), (10.485,0.345,10.81,0.35), (10.485,0.35,11.22,0.68), (10.485,0.35,11.22,0.68), (5.62,0.37,9.6,0.67), (5.62,0.37,9.6,0.67), (5.62,0.67,5.92,1.465), (5.62,0.67,5.92,1.465), (9.3,0.67,9.6,2.03), (9.3,0.67,9.6,2.03), (10.485,0.68,10.81,0.685), (10.485,0.68,10.81,0.685), (1.95,0.905,2.275,0.91), (1.95,0.905,2.275,0.91), (4.125,0.905,4.45,0.91), (4.125,0.905,4.45,0.91), (0.58,0.91,1.31,1.24), (0.58,0.91,1.31,1.24), (1.61,0.91,2.34,1.24), (1.61,0.91,2.34,1.24), (4.125,0.91,4.86,1.24), (4.125,0.91,4.86,1.24), (0.58,1.24,1.1,1.245), (0.58,1.24,1.1,1.245), (1.95,1.24,2.275,1.245), (1.95,1.24,2.275,1.245), (4.125,1.24,4.45,1.245), (4.125,1.24,4.45,1.245), (2.685,1.465,3.015,1.47), (2.685,1.465,3.015,1.47), (5.365,1.465,5.92,1.8), (5.365,1.465,5.92,1.8), (2.685,1.47,3.42,1.8), (2.685,1.47,3.42,1.8), (2.685,1.8,3.015,1.805), (2.685,1.8,3.015,1.805), (5.365,1.8,5.685,1.805), (5.365,1.8,5.685,1.805), (0.245,2.025,0.57,2.03), (0.245,2.025,0.57,2.03), (6.565,2.025,6.895,2.03), (6.565,2.025,6.895,2.03), (8.53,2.025,8.855,2.03), (8.53,2.025,8.855,2.03), (0.245,2.03,0.98,2.36), (0.245,2.03,0.98,2.36), (6.565,2.03,7.3,2.36), (6.565,2.03,7.3,2.36), (8.27,2.03,9,2.36), (8.27,2.03,9,2.36), (9.3,2.03,9.86,2.36), (9.3,2.03,9.86,2.36), (0.245,2.36,0.57,2.365), (0.245,2.36,0.57,2.365), (6.565,2.36,6.895,2.365), (6.565,2.36,6.895,2.365), (8.53,2.36,8.855,2.365), (8.53,2.36,8.855,2.365), (9.535,2.36,9.855,2.365), (9.535,2.36,9.855,2.365)])
R(scs130hd_mpr2et_8, nsdm, [(0.165,0.105,11.385,1.005), (0.165,0.105,11.385,1.005)])
R(scs130hd_mpr2et_8, psdm, [(0.165,1.355,11.385,2.605), (0.165,1.355,11.385,2.605)])
R(scs130hd_mpr2et_8, npc, [(0.47,0.97,1.8,1.34), (0.47,0.97,1.8,1.34), (2.43,0.97,4.24,1.34), (2.43,0.97,4.24,1.34), (4.87,0.97,6.68,1.34), (4.87,0.97,6.68,1.34), (7.31,0.97,8.64,1.34), (7.31,0.97,8.64,1.34), (9.27,0.97,11.08,1.34), (9.27,0.97,11.08,1.34)])
R(scs130hd_mpr2et_8, pwell_pin, [(0.16,-0.08,0.33,0.08), (0.16,-0.08,0.33,0.08), (2.12,-0.08,2.29,0.08), (2.12,-0.08,2.29,0.08), (4.56,-0.08,4.73,0.08), (4.56,-0.08,4.73,0.08), (7,-0.08,7.17,0.08), (7,-0.08,7.17,0.08), (8.96,-0.08,9.13,0.08), (8.96,-0.08,9.13,0.08)])
R(scs130hd_mpr2et_8, boundary, [(0,0,11.96,2.72), (0,0,11.96,2.72)])
scs130hd_mpr2et_8.add(gdstk.Label('VPB', (0.245,2.715), layer=64, texttype=5))
scs130hd_mpr2et_8.add(gdstk.Label('VPB', (2.205,2.715), layer=64, texttype=5))
scs130hd_mpr2et_8.add(gdstk.Label('VPB', (4.645,2.715), layer=64, texttype=5))
scs130hd_mpr2et_8.add(gdstk.Label('VPB', (7.085,2.715), layer=64, texttype=5))
scs130hd_mpr2et_8.add(gdstk.Label('VPB', (9.045,2.715), layer=64, texttype=5))
scs130hd_mpr2et_8.add(gdstk.Label('VPB', (0.245,2.715), layer=64, texttype=5))
scs130hd_mpr2et_8.add(gdstk.Label('VPB', (2.205,2.715), layer=64, texttype=5))
scs130hd_mpr2et_8.add(gdstk.Label('VPB', (4.645,2.715), layer=64, texttype=5))
scs130hd_mpr2et_8.add(gdstk.Label('VPB', (7.085,2.715), layer=64, texttype=5))
scs130hd_mpr2et_8.add(gdstk.Label('VPB', (9.045,2.715), layer=64, texttype=5))
scs130hd_mpr2et_8.add(gdstk.Label('VNB', (0.245,0), layer=64, texttype=59))
scs130hd_mpr2et_8.add(gdstk.Label('VNB', (2.205,0), layer=64, texttype=59))
scs130hd_mpr2et_8.add(gdstk.Label('VNB', (4.645,0), layer=64, texttype=59))
scs130hd_mpr2et_8.add(gdstk.Label('VNB', (7.085,0), layer=64, texttype=59))
scs130hd_mpr2et_8.add(gdstk.Label('VNB', (9.045,0), layer=64, texttype=59))
scs130hd_mpr2et_8.add(gdstk.Label('VNB', (0.245,0), layer=64, texttype=59))
scs130hd_mpr2et_8.add(gdstk.Label('VNB', (2.205,0), layer=64, texttype=59))
scs130hd_mpr2et_8.add(gdstk.Label('VNB', (4.645,0), layer=64, texttype=59))
scs130hd_mpr2et_8.add(gdstk.Label('VNB', (7.085,0), layer=64, texttype=59))
scs130hd_mpr2et_8.add(gdstk.Label('VNB', (9.045,0), layer=64, texttype=59))
scs130hd_mpr2et_8.add(gdstk.Label('vpwr', (0.235,2.715), layer=68, texttype=5))
scs130hd_mpr2et_8.add(gdstk.Label('vgnd', (0.235,0), layer=68, texttype=5))
scs130hd_mpr2et_8.add(gdstk.Label('vpwr', (0.235,2.715), layer=68, texttype=5))
scs130hd_mpr2et_8.add(gdstk.Label('vgnd', (0.235,0), layer=68, texttype=5))
scs130hd_mpr2et_8.add(gdstk.Label('B0', (1.975,1.075), layer=70, texttype=5))
scs130hd_mpr2et_8.add(gdstk.Label('A0', (0.945,1.075), layer=70, texttype=5))
scs130hd_mpr2et_8.add(gdstk.Label('B1', (3.055,1.635), layer=70, texttype=5))
scs130hd_mpr2et_8.add(gdstk.Label('R1', (8.635,2.195), layer=70, texttype=5))
scs130hd_mpr2et_8.add(gdstk.Label('R2', (6.935,2.195), layer=70, texttype=5))
scs130hd_mpr2et_8.add(gdstk.Label('R0', (0.615,2.195), layer=70, texttype=5))
scs130hd_mpr2et_8.add(gdstk.Label('R3', (10.855,0.515), layer=70, texttype=5))
scs130hd_mpr2et_8.add(gdstk.Label('A1', (4.495,1.075), layer=70, texttype=5))
scs130hd_mpr2et_8.add(gdstk.Label('B0', (1.975,1.075), layer=70, texttype=5))
scs130hd_mpr2et_8.add(gdstk.Label('A0', (0.945,1.075), layer=70, texttype=5))
scs130hd_mpr2et_8.add(gdstk.Label('B1', (3.055,1.635), layer=70, texttype=5))
scs130hd_mpr2et_8.add(gdstk.Label('R1', (8.635,2.195), layer=70, texttype=5))
scs130hd_mpr2et_8.add(gdstk.Label('R2', (6.935,2.195), layer=70, texttype=5))
scs130hd_mpr2et_8.add(gdstk.Label('R0', (0.615,2.195), layer=70, texttype=5))
scs130hd_mpr2et_8.add(gdstk.Label('R3', (10.855,0.515), layer=70, texttype=5))
scs130hd_mpr2et_8.add(gdstk.Label('A1', (4.495,1.075), layer=70, texttype=5))

lib.write_gds('scs130hd_mpr2et_8.gds')
